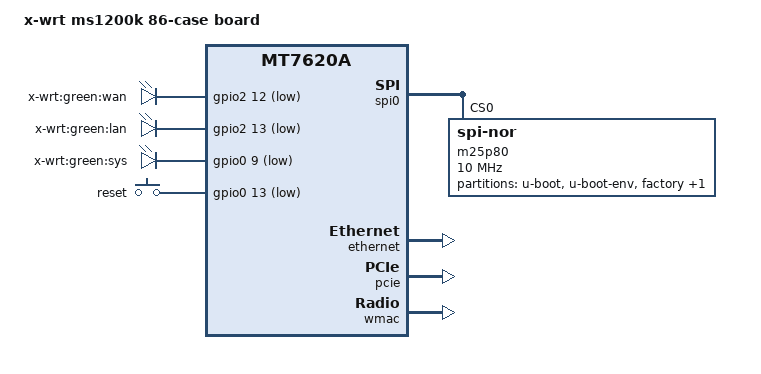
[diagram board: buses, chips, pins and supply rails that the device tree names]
/dts-v1/;

#include "mt7620a.dtsi"

#include <dt-bindings/gpio/gpio.h>
#include <dt-bindings/input/input.h>

/ {
	compatible = "xwrt,ms1200k", "ralink,mt7620a-soc";
	model = "x-wrt ms1200k 86-case board";

	leds {
		compatible = "gpio-leds";

		wan {
			label = "x-wrt:green:wan";
			gpios = <&gpio2 12 GPIO_ACTIVE_LOW>;
		};

		lan {
			label = "x-wrt:green:lan";
			gpios = <&gpio2 13 GPIO_ACTIVE_LOW>;
		};

		sys: sys {
			label = "x-wrt:green:sys";
			gpios = <&gpio0 9 GPIO_ACTIVE_LOW>;
		};
	};

	keys {
		compatible = "gpio-keys";
		poll-interval = <20>;

		reset {
			label = "reset";
			gpios = <&gpio0 13 GPIO_ACTIVE_LOW>;
			linux,code = <BTN_1>;
		};
	};
};

&gpio0 {
	status = "okay";
};

&gpio1 {
	status = "okay";
};

&gpio2 {
	status = "okay";
};

&gpio3 {
	status = "okay";
};

&pinctrl {
	state_default: pinctrl0 {
		gpio {
			ralink,group = "spi refclk", "nd_sd", "rgmii2", "uartf";
			ralink,function = "gpio";
		};
	};
};

&spi0 {
	status = "okay";

	m25p80@0 {
		compatible = "jedec,spi-nor";
		reg = <0>;
		spi-max-frequency = <10000000>;

		partitions {
			compatible = "fixed-partitions";
			#address-cells = <1>;
			#size-cells = <1>;

			partition@0 {
				label = "u-boot";
				reg = <0x0 0x30000>;
				read-only;
			};

			partition@30000 {
				label = "u-boot-env";
				reg = <0x30000 0x10000>;
				read-only;
			};

			factory: partition@40000 {
				label = "factory";
				reg = <0x40000 0x10000>;
				read-only;
			};

			partition@50000 {
				compatible = "denx,uimage";
				label = "firmware";
				reg = <0x50000 0x7b0000>;
			};
		};
	};
};

&ethernet {
	status = "okay";
	pinctrl-names = "default";
	pinctrl-0 = <&ephy_pins>;
	mediatek,portmap = "llllw";
	mtd-mac-address = <&factory 0x4>;
};

&gsw {
	mediatek,port4 = "ephy";
};

&pcie {
	status = "okay";
};

&pcie0 {
	mt76@0,0 {
		reg = <0x0000 0 0 0 0>;
		mediatek,mtd-eeprom = <&factory 0x8000>;
		ieee80211-freq-limit = <5000000 6000000>;
	};
};

&wmac {
	ralink,mtd-eeprom = <&factory 0>;
};
